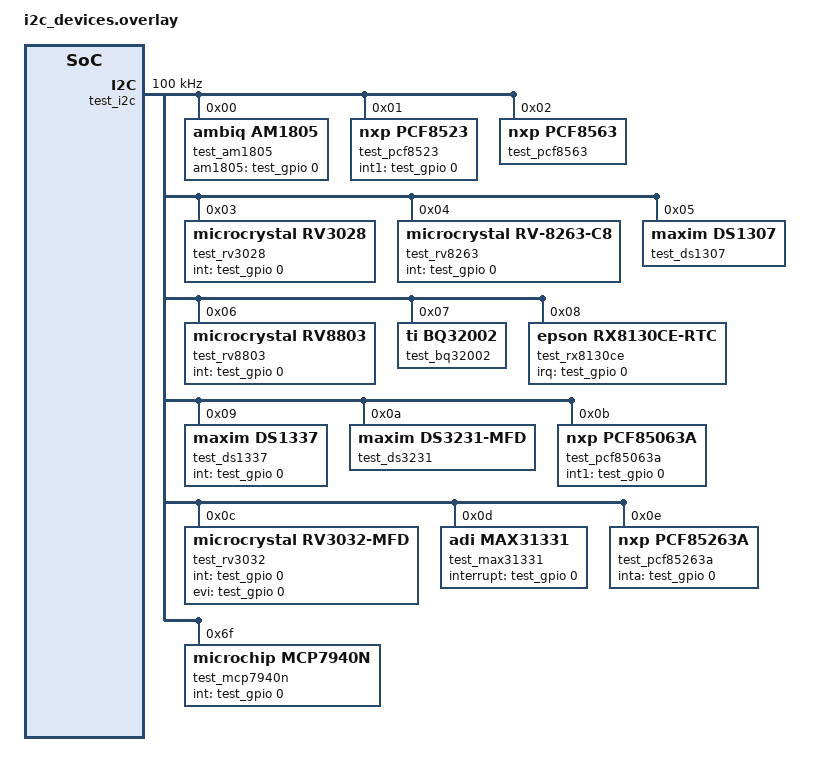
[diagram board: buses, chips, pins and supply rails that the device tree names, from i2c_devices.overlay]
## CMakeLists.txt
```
# SPDX-License-Identifier: Apache-2.0

cmake_minimum_required(VERSION 3.28.0)
find_package(Zephyr REQUIRED HINTS $ENV{ZEPHYR_BASE})
project(build_all_rtc)

FILE(GLOB app_sources src/*.c)
target_sources(app PRIVATE ${app_sources})
```

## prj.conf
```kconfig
CONFIG_TEST=y
CONFIG_TEST_USERSPACE=y
CONFIG_GPIO=y
CONFIG_RTC=y
CONFIG_RTC_ALARM=y
CONFIG_RTC_UPDATE=y
CONFIG_RTC_CALIBRATION=y
CONFIG_RTC_RV3028_TIMESTAMP=y
```

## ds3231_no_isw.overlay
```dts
/*
 * Copyright (c) 2026 Sachin Pathave
 * SPDX-License-Identifier: Apache-2.0
 */

/*
 * Regression test for the DS3231 driver building without isw-gpios,
 * e.g. when the INT/SQW pin is intentionally left unconnected on the
 * board and only basic time get/set is needed.
 */

/ {
	test {
		#address-cells = <1>;
		#size-cells = <1>;

		test_i2c_no_isw: i2c@22221111 {
			compatible = "vnd,i2c";
			reg = <0x22221111 0x1000>;
			#address-cells = <1>;
			#size-cells = <0>;
			clock-frequency = <100000>;

			test_ds3231_no_isw: ds3231@a {
				compatible = "maxim,ds3231-mfd";
				reg = <0xa>;

				test_ds3231_rtc_no_isw: ds3231_rtc {
					compatible = "maxim,ds3231-rtc";
				};
			};
		};
	};
};
```

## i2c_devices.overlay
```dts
/*
 * Copyright (c) 2024 TOKITA Hiroshi
 * SPDX-License-Identifier: Apache-2.0
 */

/ {
	test {
		#address-cells = <1>;
		#size-cells = <1>;

		test_i2c: i2c@11112222 {
			compatible = "vnd,i2c";
			reg = <0x11112222 0x1000>;
			#address-cells = <1>;
			#size-cells = <0>;
			clock-frequency = <100000>;

			test_am1805: am1805@0 {
				compatible = "ambiq,am1805";
				reg = <0x0>;
				am1805-gpios = <&test_gpio 0 0>;
			};

			test_pcf8523: pcf8523@1 {
				compatible = "nxp,pcf8523";
				reg = <0x1>;
				alarms-count = <1>;
				battery-switch-over = "standard";
				int1-gpios = <&test_gpio 0 0>;
			};

			test_pcf8563: pcf8563@2 {
				compatible = "nxp,pcf8563";
				reg = <0x2>;
			};

			test_rv3028: rv3028@3 {
				compatible = "microcrystal,rv3028";
				reg = <0x3>;
				clkout-frequency = <1>;
				backup-switch-mode = "disabled";
				trickle-resistor-ohms = <3000>;
				int-gpios = <&test_gpio 0 0>;

				test_rv3028_rtc: rv3028_rtc {
					compatible = "microcrystal,rv3028-rtc";
					status = "okay";
				};
			};

			test_rv8263: rv8263@4 {
				compatible = "microcrystal,rv-8263-c8";
				reg = <0x4>;
				int-gpios = <&test_gpio 0 0>;
				clkout = <4096>;
			};

			test_ds1307: ds1307@5 {
				compatible = "maxim,ds1307";
				reg = <0x5>;
			};

			test_rv8803: rv8803@6 {
				compatible = "microcrystal,rv8803";
				reg = <0x6>;
				int-gpios = <&test_gpio 0 0>;
				clkout-frequency = <1024>;
			};

			test_bq32002: bq32002@7 {
				compatible = "ti,bq32002";
				reg = <0x7>;
				irq-frequency = <512>;
			};

			test_rx8130ce: rx8130ce-rtc@8 {
				compatible = "epson,rx8130ce-rtc";
				reg = <0x8>;
				irq-gpios = <&test_gpio 0 0>;
			};

			test_ds1337: ds1337@9 {
				compatible = "maxim,ds1337";
				reg = <0x9>;
				int-gpios = <&test_gpio 0 0>;
				sqw-frequency = <4096>;
			};

			test_ds3231: ds3231@a {
				compatible = "maxim,ds3231-mfd";
				reg = <0xa>;

				test_ds3231_rtc: ds3231_rtc {
					compatible = "maxim,ds3231-rtc";
					isw-gpios = <&test_gpio 0 0>;
					freq-32khz-gpios = <&test_gpio 0 0>;
				};
			};

			test_pcf85063a: pcf85063a@b {
				compatible = "nxp,pcf85063a";
				reg = <0xb>;
				int1-gpios = <&test_gpio 0 0>;
			};

			test_rv3032: rv3032c7@c {
				compatible = "microcrystal,rv3032-mfd";
				reg = <0xc>;
				int-gpios = <&test_gpio 0 0>;
				evi-gpios = <&test_gpio 0 0>;
				backup-switch-mode = "disabled";
				trickle-resistor-ohms = <600>;
				trickle-charger-mode = <1750>;
				always-on;
				status = "okay";

				test_rv3032_rtc: rv3032_rtc {
					compatible = "microcrystal,rv3032";
					status = "okay";
				};
			};

			test_max31331: max31331@d {
				compatible = "adi,max31331";
				reg = <0xd>;
				interrupt-gpios = <&test_gpio 0 0>;
			};

			test_pcf85263a: pcf85263a@e {
				compatible = "nxp,pcf85263a";
				reg = <0xe>;
				inta-gpios = <&test_gpio 0 0>;
			};

			test_mcp7940n: mcp7940n@6f {
				compatible = "microchip,mcp7940n";
				reg = <0x6f>;
				int-gpios = <&test_gpio 0 0>;
			};
		};

		test_gpio: gpio@deadbeef {
			compatible = "vnd,gpio";
			reg = <0xdeadbeef 0x1000>;
			gpio-controller;
			#gpio-cells = <0x2>;
		};
	};
};
```

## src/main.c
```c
/*
 * Copyright (c) 2023 Henrik Brix Andersen <henrik@brixandersen.dk>
 *
 * SPDX-License-Identifier: Apache-2.0
 */

int main(void)
{
	return 0;
}
```
